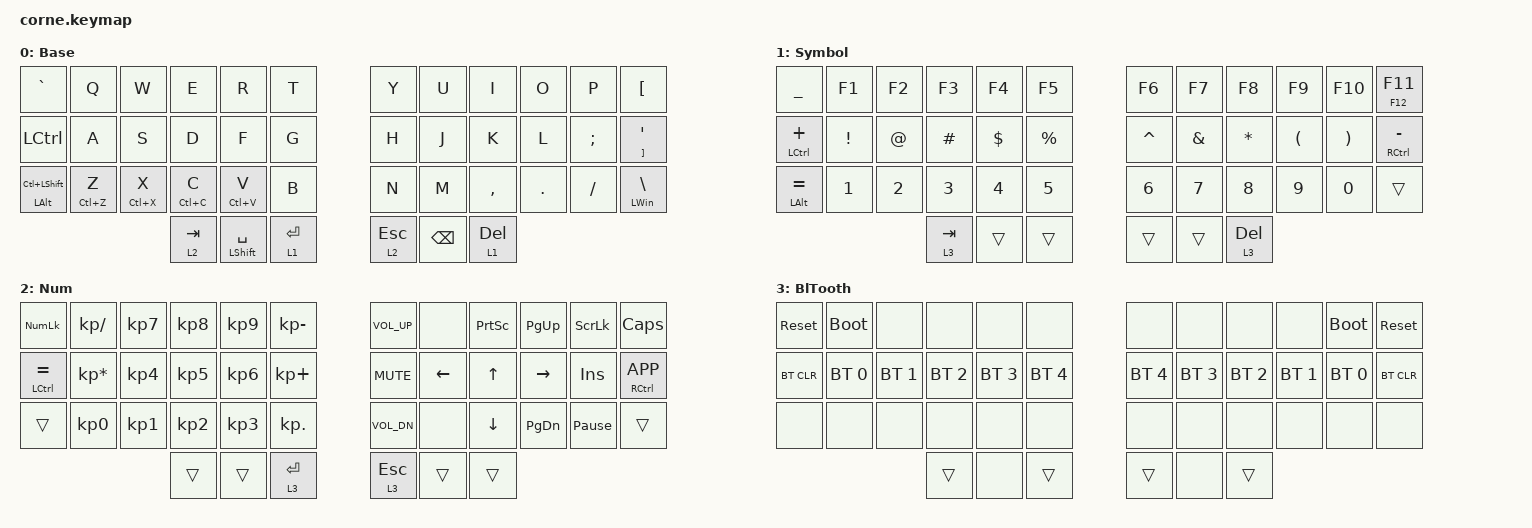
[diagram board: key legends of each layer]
/*
 * Copyright (c) 2020 The ZMK Contributors
 *
 * SPDX-License-Identifier: MIT
 */

#include <behaviors.dtsi>
#include <dt-bindings/zmk/bt.h>
#include <dt-bindings/zmk/keys.h>

/ {
    macros {
        CMD: CMD {
            compatible = "zmk,behavior-macro";
            #binding-cells = <0>;
            bindings =
                <&kp LWIN>,
                <&macro_wait_time 100>,
                <&kp LG(R)>,
                <&macro_wait_time 100>,
                <&kp C &kp M &kp D &kp ENTER>;

            label = "CMD";
        };

        colon: colon {
            compatible = "zmk,behavior-macro";
            #binding-cells = <0>;
            bindings = <&kp LC(LSHFT) &kp LS(SEMI) &kp LC(LSHFT) &kp SPACE>;
            label = "COLON";
        };

        semicolon: semicolon {
            compatible = "zmk,behavior-macro";
            #binding-cells = <0>;
            bindings = <&kp LC(LSHFT) &kp SEMI &kp LC(LSHIFT) &kp SPACE>;
            label = "SEMICOLON";
        };

        comma: comma {
            compatible = "zmk,behavior-macro";
            #binding-cells = <0>;
            bindings = <&kp LS(SLASH) &kp SPACE>;
            label = "COMMA";
        };

        dot: dot {
            compatible = "zmk,behavior-macro";
            #binding-cells = <0>;
            bindings = <&kp SLASH &kp SPACE &Sticky_Shift LSHFT>;
            label = "DOT";
        };
    };

    combos {
        compatible = "zmk,combos";

        cmd {
            bindings = <&CMD>;
            key-positions = <6 8>;
        };

        comma {
            bindings = <&comma>;
            key-positions = <6 18>;
        };

        dot {
            bindings = <&dot>;
            key-positions = <7 19>;
        };

        colon {
            bindings = <&colon>;
            key-positions = <8 20>;
        };

        semicolon {
            bindings = <&semicolon>;
            key-positions = <9 21>;
        };
    };

    behaviors {
        tap_dance_space: tap_dance_space {
            compatible = "zmk,behavior-tap-dance";
            label = "TAP_DANCE_SPACE";
            #binding-cells = <0>;
            bindings = <&kp SPACE>, <&kp LSHFT>;
        };

        tap_dance_del: tap_dance_del {
            compatible = "zmk,behavior-tap-dance";
            label = "TAP_DANCE_DEL";
            #binding-cells = <0>;
            bindings = <&kp BACKSPACE>, <&kp LSHFT>;
        };

        Sticky_Shift: Sticky_Shift {
            compatible = "zmk,behavior-sticky-key";
            label = "STICKY_SHIFT";
            bindings = <&kp>;
            #binding-cells = <1>;
            lazy;
            release-after-ms = <10000>;
        };
    };

    keymap {
        compatible = "zmk,keymap";

        Base {
            display-name = "Base";

            // -----------------------------------------------------------------------------------------
            // |  TAB |  Q  |  W  |  E  |  R  |  T  |   |  Y  |  U   |  I  |  O  |  P  | BKSP |
            // | CTRL |  A  |  S  |  D  |  F  |  G  |   |  H  |  J   |  K  |  L  |  ;  |  '   |
            // | SHFT |  Z  |  X  |  C  |  V  |  B  |   |  N  |  M   |  ,  |  .  |  /  | ESC  |
            //                    | GUI | LWR | SPC |   | ENT | RSE  | ALT |

            bindings = <
&kp GRAVE           &kp Q        &kp W        &kp E        &kp R            &kp T          &kp Y         &kp U          &kp I      &kp O    &kp P     &kp LBKT
&kp LCTRL           &kp A        &kp S        &kp D        &kp F            &kp G          &kp H         &kp J          &kp K      &kp L    &kp SEMI  &mt RBKT SQT
&mt LALT LC(LSHFT)  &mt LC(Z) Z  &mt LC(X) X  &mt LC(C) C  &mt LC(V) V      &kp B          &kp N         &kp M          &kp COMMA  &kp DOT  &kp FSLH  &mt LWIN BSLH
                                              &lt 2 TAB    &mt LSHFT SPACE  &lt 1 ENTER    &lt 2 ESCAPE  &kp BACKSPACE  &lt 1 DEL
            >;
        };

        Symbols {
            display-name = "Symbol";

            // -----------------------------------------------------------------------------------------
            // |  TAB |  1  |  2  |  3  |  4  |  5  |   |  6  |  7  |  8  |  9  |  0  | BKSP |
            // | BTCLR| BT1 | BT2 | BT3 | BT4 | BT5 |   | LFT | DWN |  UP | RGT |     |      |
            // | SHFT |     |     |     |     |     |   |     |     |     |     |     |      |
            //                    | GUI |     | SPC |   | ENT |     | ALT |

            bindings = <
&kp UNDER       &kp F1    &kp F2  &kp F3     &kp F4    &kp F5       &kp F6     &kp F7    &kp F8     &kp F9    &kp F10   &mt F12 F11
&mt LCTRL PLUS  &kp EXCL  &kp AT  &kp HASH   &kp DLLR  &kp PRCNT    &kp CARET  &kp AMPS  &kp STAR   &kp LPAR  &kp RPAR  &mt RCTRL MINUS
&mt LALT EQUAL  &kp N1    &kp N2  &kp N3     &kp N4    &kp N5       &kp N6     &kp N7    &kp N8     &kp N9    &kp N0    &trans
                                  &lt 3 TAB  &trans    &trans       &trans     &trans    &lt 3 DEL
            >;
        };

        Numlock {
            display-name = "Num";

            // -----------------------------------------------------------------------------------------
            // |  TAB |  !  |  @  |  #  |  $  |  %  |   |  ^  |  &  |  *  |  (  |  )  | BKSP |
            // | CTRL |     |     |     |     |     |   |  -  |  =  |  [  |  ]  |  \  |  `   |
            // | SHFT |     |     |     |     |     |   |  _  |  +  |  {  |  }  | "|" |  ~   |
            //                    | GUI |     | SPC |   | ENT |     | ALT |

            bindings = <
&kp KP_NUM       &kp KP_SLASH     &kp KP_N7        &kp KP_N8        &kp KP_NUMBER_9  &kp KP_MINUS    &kp C_VOL_UP  &none     &kp PSCRN     &kp PG_UP      &kp SLCK         &kp CAPS
&mt LCTRL EQUAL  &kp KP_MULTIPLY  &kp KP_NUMBER_4  &kp KP_NUMBER_5  &kp KP_NUMBER_6  &kp KP_PLUS     &kp C_MUTE    &kp LEFT  &kp UP_ARROW  &kp RIGHT      &kp INSERT       &mt RCTRL K_APP
&trans           &kp KP_NUMBER_0  &kp KP_NUMBER_1  &kp KP_NUMBER_2  &kp KP_NUMBER_3  &kp KP_DOT      &kp C_VOL_DN  &none     &kp DOWN      &kp PAGE_DOWN  &kp PAUSE_BREAK  &trans
                                                   &trans           &trans           &lt 3 RET       &lt 3 ESC     &trans    &trans
            >;
        };

        Bluethooth {
            display-name = "BlTooth";
            bindings = <
&sys_reset  &bootloader   &none         &none         &none         &none           &none         &none         &none         &none         &bootloader   &sys_reset
&bt BT_CLR  &bt BT_SEL 0  &bt BT_SEL 1  &bt BT_SEL 2  &bt BT_SEL 3  &bt BT_SEL 4    &bt BT_SEL 4  &bt BT_SEL 3  &bt BT_SEL 2  &bt BT_SEL 1  &bt BT_SEL 0  &bt BT_CLR
&none       &none         &none         &none         &none         &none           &none         &none         &none         &none         &none         &none
                                        &trans        &none         &trans          &trans        &none         &trans
            >;
        };
    };
};
